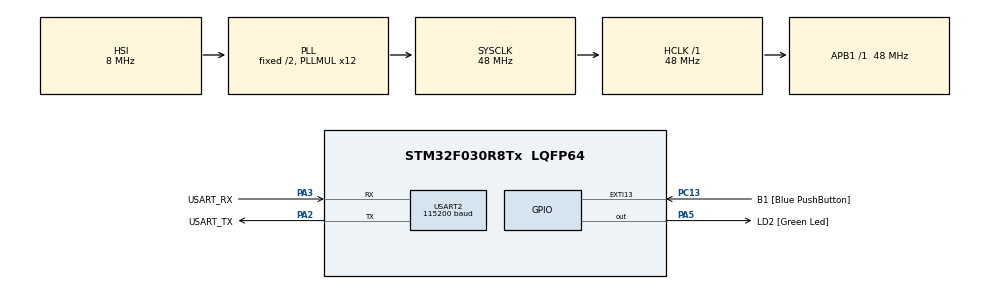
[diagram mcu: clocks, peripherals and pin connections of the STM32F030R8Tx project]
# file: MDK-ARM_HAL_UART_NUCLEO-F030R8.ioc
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Dma.Request0=USART2_TX
Dma.USART2_TX.0.Direction=DMA_MEMORY_TO_PERIPH
Dma.USART2_TX.0.Instance=DMA1_Channel4
Dma.USART2_TX.0.MemDataAlignment=DMA_MDATAALIGN_BYTE
Dma.USART2_TX.0.MemInc=DMA_MINC_ENABLE
Dma.USART2_TX.0.Mode=DMA_NORMAL
Dma.USART2_TX.0.PeriphDataAlignment=DMA_PDATAALIGN_BYTE
Dma.USART2_TX.0.PeriphInc=DMA_PINC_DISABLE
Dma.USART2_TX.0.Priority=DMA_PRIORITY_LOW
Mcu.Family=STM32F0
Mcu.Name=STM32F030R8Tx
Mcu.Package=LQFP64
NVIC.DMA1_Channel4_5_IRQn=true\:0\:0\:false\:false\:true\:false\:true
NVIC.USART2_IRQn=true\:0\:0\:false\:false\:true\:true\:true
PA13.GPIO_Label=TMS
PA13.Mode=Serial_Wire
PA13.Signal=SYS_SWDIO
PA14.GPIO_Label=TCK
PA14.Mode=Serial_Wire
PA14.Signal=SYS_SWCLK
PA2.GPIO_Label=USART_TX
PA2.GPIO_Mode=GPIO_MODE_AF_PP
PA2.GPIO_PuPd=GPIO_NOPULL
PA2.GPIO_Speed=GPIO_SPEED_FREQ_LOW
PA2.Mode=Asynchronous
PA2.Signal=USART2_TX
PA3.GPIO_Label=USART_RX
PA3.GPIO_Mode=GPIO_MODE_AF_PP
PA3.GPIO_PuPd=GPIO_NOPULL
PA3.GPIO_Speed=GPIO_SPEED_FREQ_LOW
PA3.Mode=Asynchronous
PA3.Signal=USART2_RX
PA5.GPIO_Label=LD2 [Green Led]
PA5.GPIO_Mode=GPIO_MODE_OUTPUT_PP
PA5.GPIO_PuPd=GPIO_NOPULL
PA5.GPIO_Speed=GPIO_SPEED_FREQ_LOW
PA5.Signal=GPIO_Output
PC13.GPIO_Label=B1 [Blue PushButton]
PC13.GPIO_ModeDefaultEXTI=GPIO_MODE_IT_FALLING
PC13.Signal=GPXTI13
PC14-OSC32_IN.Mode=LSE-External-Oscillator
PC14-OSC32_IN.Signal=RCC_OSC32_IN
PC15-OSC32_OUT.Mode=LSE-External-Oscillator
PC15-OSC32_OUT.Signal=RCC_OSC32_OUT
PF0-OSC_IN.Mode=HSE-External-Clock-Source
PF0-OSC_IN.Signal=RCC_OSC_IN
PF1-OSC_OUT.Signal=RCC_OSC_OUT
ProjectManager.HeapSize=0x200
ProjectManager.StackSize=0x400
ProjectManager.TargetToolchain=MDK-ARM V5.27
RCC.AHBFreq_Value=48000000
RCC.APB1Freq_Value=48000000
RCC.APB1TimFreq_Value=48000000
RCC.HCLKFreq_Value=48000000
RCC.PLLMUL=RCC_PLL_MUL12
RCC.SYSCLKFreq_VALUE=48000000
RCC.SYSCLKSource=RCC_SYSCLKSOURCE_PLLCLK
USART2.BaudRate=115200
USART2.VirtualMode-Asynchronous=VM_ASYNC
board=NUCLEO-F030R8

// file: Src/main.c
/* USER CODE BEGIN Header */
/**
  ******************************************************************************
  * @file           : main.c
  * @brief          : Main program body
  ******************************************************************************
  * @attention
  *
  * <h2><center>&copy; Copyright (c) 2020 STMicroelectronics.
  * All rights reserved.</center></h2>
  *
  * This software component is licensed by ST under BSD 3-Clause license,
  * the "License"; You may not use this file except in compliance with the
  * License. You may obtain a copy of the License at:
  *                        opensource.org/licenses/BSD-3-Clause
  *
  ******************************************************************************
  */
/* USER CODE END Header */

#include "main.h"

/* USER CODE BEGIN Includes */
#include "trice.h"
/* USER CODE END Includes */

UART_HandleTypeDef huart2;
DMA_HandleTypeDef hdma_usart2_tx;

void SystemClock_Config(void);
static void MX_GPIO_Init(void);
static void MX_DMA_Init(void);
static void MX_USART2_UART_Init(void);

int main(void)
{
  /* USER CODE BEGIN 1 */
#ifdef ENCRYPT
    InitXteaTable();
#endif
  /* USER CODE END 1 */

  /* MCU Configuration--------------------------------------------------------*/

  /* Reset of all peripherals, Initializes the Flash interface and the Systick. */
  HAL_Init();

  /* Configure the system clock */
  SystemClock_Config();

  /* Initialize all configured peripherals */
  MX_GPIO_Init();
  MX_DMA_Init();
  MX_USART2_UART_Init();

  /* Infinite loop */
  /* USER CODE BEGIN WHILE */
    TRICE16_1( Id(35115), "TIM:timing      message, SysTick is %6d\n", SYSTICKVAL16 );
    TRICE0( Id(23932), "att:MDK-ARM_HAL_UART_NUCLEO-F030R8\n" );
    TRICE16_1( Id( 6196), "TIM:timing      message, SysTick is %6d\n", SYSTICKVAL16 );
    TRICE16_1( Id(14394), "TIM:timing      message, SysTick is %6d\n", SYSTICKVAL16 );
    TRICE16_1( Id(51521), "TIM:timing      message, SysTick is %6d\n", SYSTICKVAL16 );
    TRICE16_1( Id( 8096), "TIM:timing      message, SysTick is %6d\n", SYSTICKVAL16 );
  while (1)
  {
      //////////////////////////////////////////////////
      // demo trices
      //
      static uint32_t ms_1 = 0;
      uint32_t ms = HAL_GetTick();
      if( ms >= ms_1 + 1000 ){ // every sec
          static int index = 0;
          triceCheckSet(index++%20);
          TRICE32_1( Id(27518), "time:ms = %d\n", ms );
          HAL_GPIO_TogglePin(LD2_GPIO_Port, LD2_Pin);
          ms_1 = ms;
      }
      //
      //////////////////////////////////////////////////

      //////////////////////////////////////////////////
      // needed background activity
      //
      triceServe();
      //
      //////////////////////////////////////////////////
    /* USER CODE END WHILE */

  }
}

void SystemClock_Config(void)
{
  RCC_OscInitTypeDef RCC_OscInitStruct = {0};
  RCC_ClkInitTypeDef RCC_ClkInitStruct = {0};

  /** Initializes the CPU, AHB and APB busses clocks
  */
  RCC_OscInitStruct.OscillatorType = RCC_OSCILLATORTYPE_HSI;
  RCC_OscInitStruct.HSIState = RCC_HSI_ON;
  RCC_OscInitStruct.HSICalibrationValue = RCC_HSICALIBRATION_DEFAULT;
  RCC_OscInitStruct.PLL.PLLState = RCC_PLL_ON;
  RCC_OscInitStruct.PLL.PLLSource = RCC_PLLSOURCE_HSI;
  RCC_OscInitStruct.PLL.PLLMUL = RCC_PLL_MUL12;
  RCC_OscInitStruct.PLL.PREDIV = RCC_PREDIV_DIV1;
  if (HAL_RCC_OscConfig(&RCC_OscInitStruct) != HAL_OK)
  {
    Error_Handler();
  }
  /** Initializes the CPU, AHB and APB busses clocks
  */
  RCC_ClkInitStruct.ClockType = RCC_CLOCKTYPE_HCLK|RCC_CLOCKTYPE_SYSCLK
                              |RCC_CLOCKTYPE_PCLK1;
  RCC_ClkInitStruct.SYSCLKSource = RCC_SYSCLKSOURCE_PLLCLK;
  RCC_ClkInitStruct.AHBCLKDivider = RCC_SYSCLK_DIV1;
  RCC_ClkInitStruct.APB1CLKDivider = RCC_HCLK_DIV1;

  if (HAL_RCC_ClockConfig(&RCC_ClkInitStruct, FLASH_LATENCY_1) != HAL_OK)
  {
    Error_Handler();
  }
}

static void MX_USART2_UART_Init(void)
{

  huart2.Instance = USART2;
  huart2.Init.BaudRate = 115200;
  huart2.Init.WordLength = UART_WORDLENGTH_8B;
  huart2.Init.StopBits = UART_STOPBITS_1;
  huart2.Init.Parity = UART_PARITY_NONE;
  huart2.Init.Mode = UART_MODE_TX_RX;
  huart2.Init.HwFlowCtl = UART_HWCONTROL_NONE;
  huart2.Init.OverSampling = UART_OVERSAMPLING_16;
  huart2.Init.OneBitSampling = UART_ONE_BIT_SAMPLE_DISABLE;
  huart2.AdvancedInit.AdvFeatureInit = UART_ADVFEATURE_NO_INIT;
  if (HAL_UART_Init(&huart2) != HAL_OK)
  {
    Error_Handler();
  }

}

static void MX_DMA_Init(void)
{

  /* DMA controller clock enable */
  __HAL_RCC_DMA1_CLK_ENABLE();

  /* DMA interrupt init */
  /* DMA1_Channel4_5_IRQn interrupt configuration */
  HAL_NVIC_SetPriority(DMA1_Channel4_5_IRQn, 0, 0);
  HAL_NVIC_EnableIRQ(DMA1_Channel4_5_IRQn);

}

static void MX_GPIO_Init(void)
{
  GPIO_InitTypeDef GPIO_InitStruct = {0};

  /* GPIO Ports Clock Enable */
  __HAL_RCC_GPIOC_CLK_ENABLE();
  __HAL_RCC_GPIOF_CLK_ENABLE();
  __HAL_RCC_GPIOA_CLK_ENABLE();

  /*Configure GPIO pin Output Level */
  HAL_GPIO_WritePin(LD2_GPIO_Port, LD2_Pin, GPIO_PIN_RESET);

  /*Configure GPIO pin : B1_Pin */
  GPIO_InitStruct.Pin = B1_Pin;
  GPIO_InitStruct.Mode = GPIO_MODE_IT_FALLING;
  GPIO_InitStruct.Pull = GPIO_NOPULL;
  HAL_GPIO_Init(B1_GPIO_Port, &GPIO_InitStruct);

  /*Configure GPIO pin : LD2_Pin */
  GPIO_InitStruct.Pin = LD2_Pin;
  GPIO_InitStruct.Mode = GPIO_MODE_OUTPUT_PP;
  GPIO_InitStruct.Pull = GPIO_NOPULL;
  GPIO_InitStruct.Speed = GPIO_SPEED_FREQ_LOW;
  HAL_GPIO_Init(LD2_GPIO_Port, &GPIO_InitStruct);

}

void Error_Handler(void)
{
}

/************************ (C) COPYRIGHT STMicroelectronics *****END OF FILE****/
